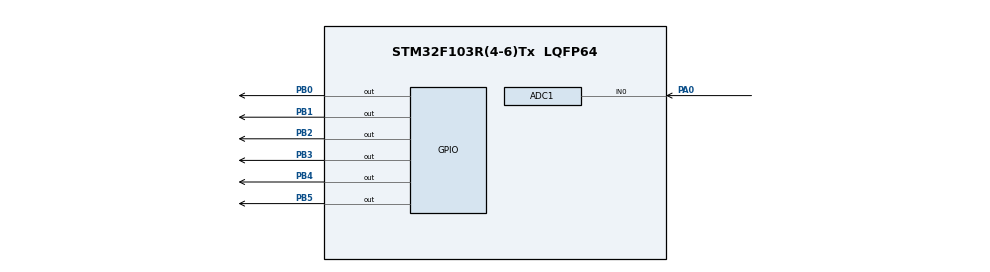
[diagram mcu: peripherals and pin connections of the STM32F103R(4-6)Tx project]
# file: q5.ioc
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ADC1.Channel-0\#ChannelRegularConversion=ADC_CHANNEL_0
ADC1.NbrOfConversionFlag=1
ADC1.Rank-0\#ChannelRegularConversion=1
ADC1.SamplingTime-0\#ChannelRegularConversion=ADC_SAMPLETIME_1CYCLE_5
ADC1.master=1
Mcu.Family=STM32F1
Mcu.Name=STM32F103R(4-6)Tx
Mcu.Package=LQFP64
NVIC.PriorityGroup=NVIC_PRIORITYGROUP_4
PA0-WKUP.Signal=ADCx_IN0
PA13.Mode=Serial_Wire
PA13.Signal=SYS_JTMS-SWDIO
PA14.Mode=Serial_Wire
PA14.Signal=SYS_JTCK-SWCLK
PB0.Signal=GPIO_Output
PB1.Signal=GPIO_Output
PB2.Signal=GPIO_Output
PB3.Signal=GPIO_Output
PB4.Signal=GPIO_Output
PB5.Signal=GPIO_Output
ProjectManager.HeapSize=0x200
ProjectManager.StackSize=0x400
ProjectManager.TargetToolchain=STM32CubeIDE
RCC.APB1Freq_Value=8000000
RCC.APB2Freq_Value=8000000
SH.ADCx_IN0.0=ADC1_IN0,IN0
board=custom

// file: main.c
/* USER CODE BEGIN Header */
/**
  ******************************************************************************
  * @file           : main.c
  * @brief          : Main program body
  ******************************************************************************
  * @attention
  *
  * Copyright (c) 2026 STMicroelectronics.
  * All rights reserved.
  *
  * This software is licensed under terms that can be found in the LICENSE file
  * in the root directory of this software component.
  * If no LICENSE file comes with this software, it is provided AS-IS.
  *
  ******************************************************************************
  */
/* USER CODE END Header */
#include "main.h"

/* USER CODE BEGIN Includes */
#include "lcd.h"
#include <stdio.h>
/* USER CODE END Includes */

ADC_HandleTypeDef hadc1;

/* USER CODE BEGIN PV */
uint16_t adc_value = 0;
float v_out = 0.0;
float pressure_kPa = 0.0;
char lcd_buffer[16];
uint32_t last_read_time = 0;

Lcd_HandleTypeDef hlcd;
/* USER CODE END PV */

void SystemClock_Config(void);
static void MX_GPIO_Init(void);
static void MX_ADC1_Init(void);

int main(void)
{

  /* MCU Configuration--------------------------------------------------------*/

  /* Reset of all peripherals, Initializes the Flash interface and the Systick. */
  HAL_Init();

  /* Configure the system clock */
  SystemClock_Config();

  /* Initialize all configured peripherals */
  MX_GPIO_Init();
  MX_ADC1_Init();
  /* USER CODE BEGIN 2 */
  Lcd_PortType ports[] = {GPIOB, GPIOB, GPIOB, GPIOB};
    Lcd_PinType pins[] = {GPIO_PIN_0, GPIO_PIN_1, GPIO_PIN_2, GPIO_PIN_3}; // D4-D7
    hlcd = Lcd_create(ports, pins, GPIOB, GPIO_PIN_4, GPIOB, GPIO_PIN_5, LCD_4_BIT_MODE);
    HAL_ADCEx_Calibration_Start(&hadc1);

    Lcd_clear(&hlcd);
  /* USER CODE END 2 */

  /* Infinite loop */
  /* USER CODE BEGIN WHILE */
    while (1)
      {
          // Check if 1000 ms (1 second) has passed
          if (HAL_GetTick() - last_read_time >= 1000)
          {
              last_read_time = HAL_GetTick();

              // 1. Start ADC and Read Value
              HAL_ADC_Start(&hadc1);
              if (HAL_ADC_PollForConversion(&hadc1, 10) == HAL_OK) {
                  adc_value = HAL_ADC_GetValue(&hadc1);
              }
              HAL_ADC_Stop(&hadc1);

              // 2. Apply Characteristic Equation
              // Calculate Vout assuming 3.3V ADC reference
              v_out = ((float)adc_value * 3.3f) / 4095.0f;

              // Calculate Pressure in kPa (Vs = 5.0V for MPX4115)
              pressure_kPa = ((v_out / 5.0f) + 0.095f) / 0.009f;

              // 3. Display on LCD in required format
              Lcd_clear(&hlcd);

              Lcd_cursor(&hlcd, 0, 0);
              Lcd_string(&hlcd, "Pressure:");

              sprintf(lcd_buffer, "%.2f kPa", pressure_kPa);
              Lcd_cursor(&hlcd, 1, 0);
              Lcd_string(&hlcd, lcd_buffer);
          }
    /* USER CODE END WHILE */

  }
}

void SystemClock_Config(void)
{
  RCC_OscInitTypeDef RCC_OscInitStruct = {0};
  RCC_ClkInitTypeDef RCC_ClkInitStruct = {0};
  RCC_PeriphCLKInitTypeDef PeriphClkInit = {0};

  /** Initializes the RCC Oscillators according to the specified parameters
  * in the RCC_OscInitTypeDef structure.
  */
  RCC_OscInitStruct.OscillatorType = RCC_OSCILLATORTYPE_HSI;
  RCC_OscInitStruct.HSIState = RCC_HSI_ON;
  RCC_OscInitStruct.HSICalibrationValue = RCC_HSICALIBRATION_DEFAULT;
  RCC_OscInitStruct.PLL.PLLState = RCC_PLL_NONE;
  if (HAL_RCC_OscConfig(&RCC_OscInitStruct) != HAL_OK)
  {
    Error_Handler();
  }

  /** Initializes the CPU, AHB and APB buses clocks
  */
  RCC_ClkInitStruct.ClockType = RCC_CLOCKTYPE_HCLK|RCC_CLOCKTYPE_SYSCLK
                              |RCC_CLOCKTYPE_PCLK1|RCC_CLOCKTYPE_PCLK2;
  RCC_ClkInitStruct.SYSCLKSource = RCC_SYSCLKSOURCE_HSI;
  RCC_ClkInitStruct.AHBCLKDivider = RCC_SYSCLK_DIV1;
  RCC_ClkInitStruct.APB1CLKDivider = RCC_HCLK_DIV1;
  RCC_ClkInitStruct.APB2CLKDivider = RCC_HCLK_DIV1;

  if (HAL_RCC_ClockConfig(&RCC_ClkInitStruct, FLASH_LATENCY_0) != HAL_OK)
  {
    Error_Handler();
  }
  PeriphClkInit.PeriphClockSelection = RCC_PERIPHCLK_ADC;
  PeriphClkInit.AdcClockSelection = RCC_ADCPCLK2_DIV2;
  if (HAL_RCCEx_PeriphCLKConfig(&PeriphClkInit) != HAL_OK)
  {
    Error_Handler();
  }
}

static void MX_ADC1_Init(void)
{

  ADC_ChannelConfTypeDef sConfig = {0};

  /** Common config
  */
  hadc1.Instance = ADC1;
  hadc1.Init.ScanConvMode = ADC_SCAN_DISABLE;
  hadc1.Init.ContinuousConvMode = DISABLE;
  hadc1.Init.DiscontinuousConvMode = DISABLE;
  hadc1.Init.ExternalTrigConv = ADC_SOFTWARE_START;
  hadc1.Init.DataAlign = ADC_DATAALIGN_RIGHT;
  hadc1.Init.NbrOfConversion = 1;
  if (HAL_ADC_Init(&hadc1) != HAL_OK)
  {
    Error_Handler();
  }

  /** Configure Regular Channel
  */
  sConfig.Channel = ADC_CHANNEL_0;
  sConfig.Rank = ADC_REGULAR_RANK_1;
  sConfig.SamplingTime = ADC_SAMPLETIME_1CYCLE_5;
  if (HAL_ADC_ConfigChannel(&hadc1, &sConfig) != HAL_OK)
  {
    Error_Handler();
  }

}

static void MX_GPIO_Init(void)
{
  GPIO_InitTypeDef GPIO_InitStruct = {0};

  /* GPIO Ports Clock Enable */
  __HAL_RCC_GPIOA_CLK_ENABLE();
  __HAL_RCC_GPIOB_CLK_ENABLE();

  /*Configure GPIO pin Output Level */
  HAL_GPIO_WritePin(GPIOB, GPIO_PIN_0|GPIO_PIN_1|GPIO_PIN_2|GPIO_PIN_3
                          |GPIO_PIN_4|GPIO_PIN_5, GPIO_PIN_RESET);

  /*Configure GPIO pins : PB0 PB1 PB2 PB3
                           PB4 PB5 */
  GPIO_InitStruct.Pin = GPIO_PIN_0|GPIO_PIN_1|GPIO_PIN_2|GPIO_PIN_3
                          |GPIO_PIN_4|GPIO_PIN_5;
  GPIO_InitStruct.Mode = GPIO_MODE_OUTPUT_PP;
  GPIO_InitStruct.Pull = GPIO_NOPULL;
  GPIO_InitStruct.Speed = GPIO_SPEED_FREQ_LOW;
  HAL_GPIO_Init(GPIOB, &GPIO_InitStruct);

}

void Error_Handler(void)
{
  __disable_irq();
  while (1)
  {
  }
}
